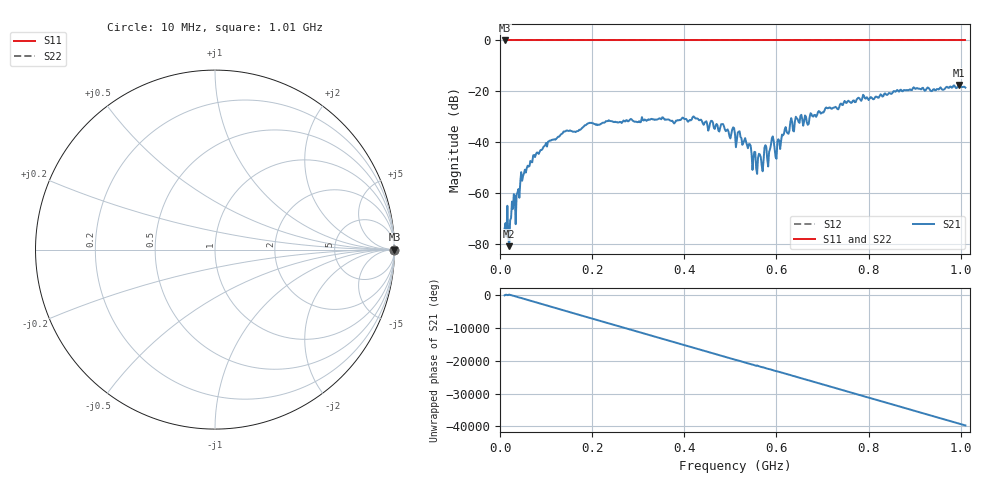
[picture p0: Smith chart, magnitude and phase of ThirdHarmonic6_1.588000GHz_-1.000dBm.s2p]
! 8/16/2025 6:54:56 PM
! C:\ANRITSUVNA\TEMP\TEMP.S2P
! CHANNEL.1
! TR.MEASUREMENT
! RAW.DATA
! RF.CORRECTION.OFF
! AVERAGING.OFF
! IF.BANDWIDTH: 5KHZ
! SWEEPTYPE:  FREQ.SWEEP(Linear)
! Reference Plane Port Info
! PORT:  PORT1  PORT2
! DISTANCE:  0  m  0  m
! TIME:  0  s  0  s
! PHASE.OFFSET:  0  deg.  0  deg.
! LOSS:  0  dB  0  dB
! REF.LOSS:  0  dB  0  dB
! REF.FREQ:  0  Hz  0  Hz
! Power Info
! POWER:  -20  dBm  -20  dBm
! EFF.POWER:  -20  dBm  -20  dBm
! SOURCE.ATTEN:  0  dB  0  dB
! TEST.ATTEN:  0  dB  0  dB
# GHZ S RI R 50.0
! FREQ.GHZ  S11RE  S11IM  S21RE  S21IM  S12RE  S12IM  S22RE  S22IM
!; PortSelection: Port_12
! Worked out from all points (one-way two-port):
!   501 points, 10 MHz to 1.01 GHz, reference 50 ohm
!   highest |S21| = -17.50 dB at 996 MHz (marker M1); lowest = -80.8 dB at 20 MHz (marker M2)
!   lowest |S11| = 0.0 dB at 10 MHz (marker M3)
!   |S11| at or under -10 dB: nowhere
!   |S22| runs from 0.0 to 0.0 dB; largest |S21 - S12| = 1.1
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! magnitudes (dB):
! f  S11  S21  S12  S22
! 10 MHz  0.0  -73.9  0.0  0.0
! 20 MHz  0.0  -80.8  0.0  0.0
! 28 MHz  0.0  -66.2  0.0  0.0
! 38 MHz  0.0  -59.7  0.0  0.0
! 50 MHz  0.0  -53.2  0.0  0.0
! 76 MHz  0.0  -45.8  0.0  0.0
! 142 MHz  0.0  -35.7  0.0  0.0
! 178 MHz  0.0  -34.4  0.0  0.0
! 344 MHz  0.0  -30.8  0.0  0.0
! 422 MHz  0.0  -30.1  0.0  0.0
! 510 MHz  0.0  -36.8  0.0  0.0
! 520 MHz  0.0  -35.7  0.0  0.0
! 568 MHz  0.0  -49.1  0.0  0.0
! 576 MHz  0.0  -41.1  0.0  0.0
! 584 MHz  0.0  -43.8  0.0  0.0
! 590 MHz  0.0  -38.4  0.0  0.0
! 600 MHz  0.0  -46.5  0.0  0.0
! 630 MHz  0.0  -32.1  0.0  0.0
! 678 MHz  0.0  -29.8  0.0  0.0
! 844 MHz  0.0  -20.7  0.0  0.0
! 996 MHz  0.0  -17.5  0.0  0.0
! 1.01 GHz  0.0  -18.5  0.0  0.0
